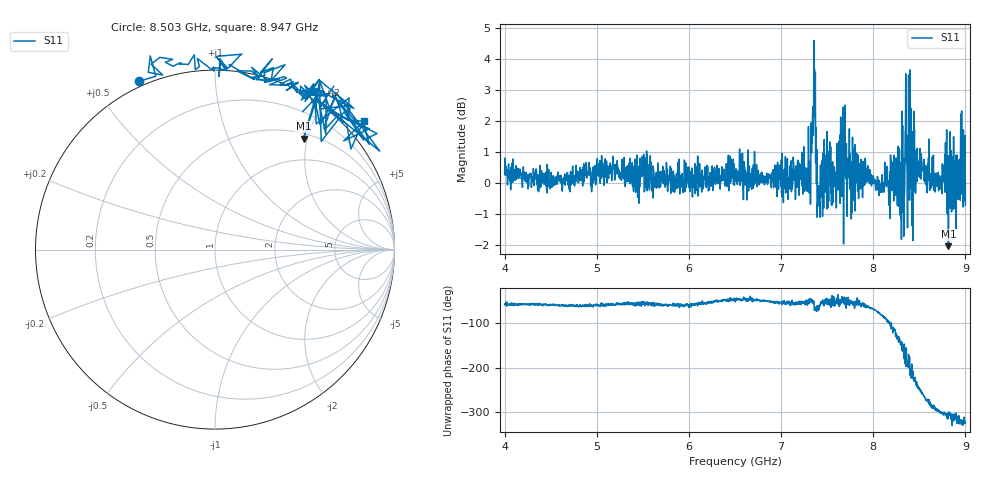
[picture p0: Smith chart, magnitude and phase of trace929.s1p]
! Created with skrf 1.8.0 (http://scikit-rf.org).
# Hz S RI R 50.0
!freq ReS11 ImS11
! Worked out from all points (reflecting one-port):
!   1601 points, 4 GHz to 9 GHz, reference 50 ohm
!   lowest |S11| = -2.0 dB at 8.816 GHz (marker M1), VSWR 8.59, Z = 29.2 + j96.7 ohm
!   phase of S11 starts at -58 deg and turns -264 deg over the sweep
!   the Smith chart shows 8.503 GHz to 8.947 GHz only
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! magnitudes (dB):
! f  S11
! 4 GHz  0.3
! 4.625 GHz  -0.3
! 5.25 GHz  0.1
! 5.875 GHz  0.2
! 6.5 GHz  0.2
! 7.125 GHz  -0.1
! 7.297 GHz  1.8
! 7.328 GHz  1.4
! 7.35 GHz  1.5
! 7.366 GHz  2.6
! 7.409 GHz  -0.2
! 7.478 GHz  0.4
! 7.578 GHz  0.5
! 7.669 GHz  1.7
! 7.75 GHz  0.9
! 8.075 GHz  0.0
! 8.259 GHz  0.7
! 8.312 GHz  2.3
! 8.334 GHz  -0.6
! 8.347 GHz  1.7
! 8.375 GHz  1.4
! 8.441 GHz  2.3
! 8.459 GHz  -0.3
! 8.681 GHz  0.0
! 8.816 GHz  -2.0
! 8.875 GHz  0.3
! 8.972 GHz  0.5
! 9 GHz  -0.7
